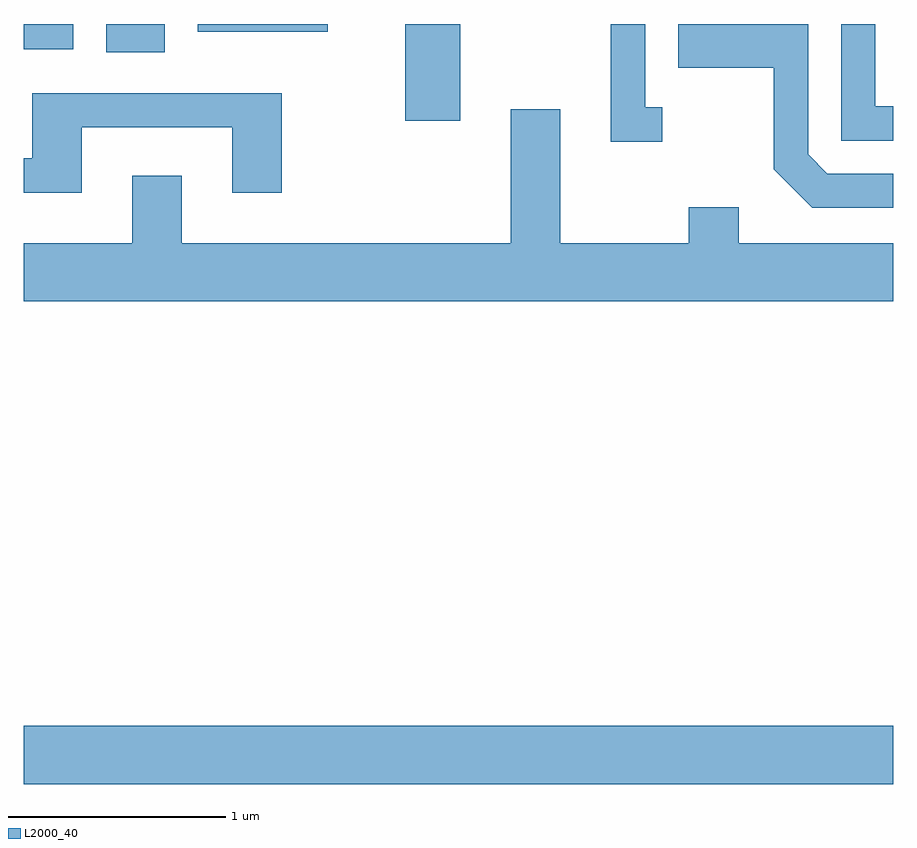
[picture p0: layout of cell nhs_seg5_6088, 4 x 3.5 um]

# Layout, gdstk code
import gdstk
lib = gdstk.Library(unit=1e-6, precision=1e-09)
def R(c, l, rs):  # rectangles x0, y0, x1, y1
    for r in rs: c.add(gdstk.rectangle(r[:2], r[2:], *l))
def P(c, l, *ps):  # polygons
    for p in ps: c.add(gdstk.Polygon(p, *l))
L2000_40 = (2000, 40)

nhs_seg5_6088 = lib.new_cell('nhs_seg5_6088')
R(nhs_seg5_6088, L2000_40, [(365.611,1454.576,369.611,1454.844), (367.366,1457.626,367.619,1458.072), (365.991,1457.941,366.259,1458.072), (365.611,1457.956,365.839,1458.072), (366.411,1458.036,367.009,1458.072)])
P(nhs_seg5_6088, L2000_40, [(369.611,1457.384),(369.307,1457.384),(369.219,1457.472),(369.219,1458.072),(368.621,1458.072),(368.621,1457.871),(369.061,1457.871),(369.061,1457.404),(369.239,1457.226),(369.611,1457.226)],
  [(368.548,1457.689),(368.469,1457.689),(368.469,1458.072),(368.311,1458.072),(368.311,1457.531),(368.548,1457.531)],
  [(369.611,1457.694),(369.529,1457.694),(369.529,1458.072),(369.371,1458.072),(369.371,1457.536),(369.611,1457.536)],
  [(365.879,1457.596),(366.571,1457.596),(366.571,1457.296),(366.799,1457.296),(366.799,1457.754),(365.651,1457.754),(365.651,1457.454),(365.611,1457.454),(365.611,1457.296),(365.879,1457.296)],
  [(369.611,1457.064),(368.899,1457.064),(368.899,1457.229),(368.671,1457.229),(368.671,1457.064),(368.079,1457.064),(368.079,1457.679),(367.851,1457.679),(367.851,1457.064),(366.339,1457.064),(366.339,1457.374),(366.111,1457.374),(366.111,1457.064),(365.611,1457.064),(365.611,1456.796),(369.611,1456.796)])

lib.write_gds('nhs_seg5_6088.gds')
